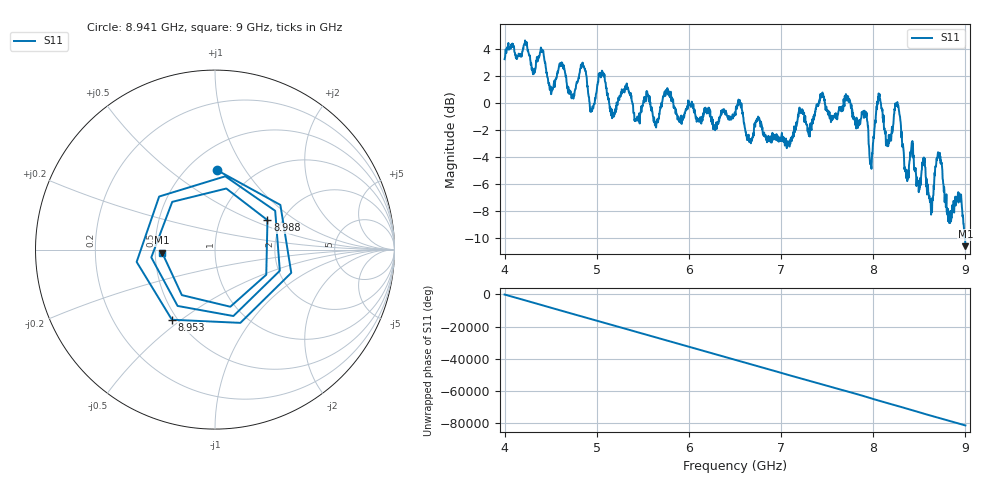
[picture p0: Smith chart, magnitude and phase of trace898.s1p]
! Created with skrf 1.8.0 (http://scikit-rf.org).
# Hz S RI R 50.0
!freq ReS11 ImS11
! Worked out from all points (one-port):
!   1601 points, 4 GHz to 9 GHz, reference 50 ohm
!   lowest |S11| = -10.6 dB at 9 GHz (marker M1), VSWR 1.84, Z = 27.2 - j1.02 ohm
!   |S11| at or under -10 dB: 8.996503 GHz to end of sweep
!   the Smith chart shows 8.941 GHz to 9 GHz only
!   S11 on the Smith chart (normalised r, x): 8.941 GHz: 0.69, +0.76; 8.953 GHz: 0.47, -0.46; 8.988 GHz: 1.68, +0.62; 9 GHz: 0.54, -0.02
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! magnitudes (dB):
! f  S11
! 4 GHz  3.3
! 4.403 GHz  3.8
! 4.506 GHz  0.7
! 4.625 GHz  3.0
! 4.731 GHz  0.5
! 4.859 GHz  2.8
! 4.944 GHz  -0.5
! 5.047 GHz  2.2
! 5.162 GHz  -0.5
! 5.25 GHz  0.5
! 5.875 GHz  -1.2
! 6.5 GHz  -0.7
! 7.125 GHz  -2.6
! 7.75 GHz  0.1
! 7.916 GHz  -1.0
! 7.975 GHz  -4.6
! 8.056 GHz  0.4
! 8.162 GHz  -3.2
! 8.259 GHz  0.0
! 8.375 GHz  -5.6
! 8.547 GHz  -4.3
! 8.628 GHz  -8.3
! 8.712 GHz  -3.7
! 8.822 GHz  -8.1
! 8.941 GHz  -7.1
! 8.953 GHz  -6.8
! 8.988 GHz  -9.5
! 9 GHz  -10.6
